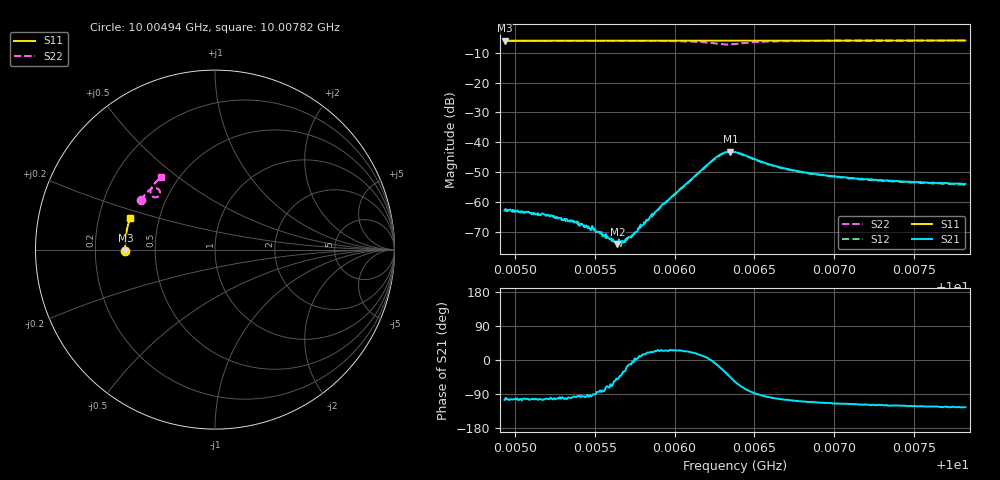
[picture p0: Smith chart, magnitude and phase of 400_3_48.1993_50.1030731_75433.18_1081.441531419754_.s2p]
#  HZ  S  RI  R  50.00
! Rohde & Schwarz Vector Network Analyzer
! Rohde-Schwarz,ZNB20-2Port,1311601062101988,3.16
! Created: UTC 3/20/2024, 11:54:00 AM
! freq[Hz]  re:S11  im:S11  re:S21  im:S21  re:S12  im:S12  re:S22  im:S22
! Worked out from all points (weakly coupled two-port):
!   401 points, 10.00494 GHz to 10.00782 GHz, reference 50 ohm
!   highest |S21| = -43.08 dB at 10.00635 GHz (marker M1); lowest = -74.0 dB at 10.00564 GHz (marker M2)
!   lowest |S11| = -6.0 dB at 10.00494 GHz (marker M3), VSWR 3.00, Z = 16.7 - j0.288 ohm
!   |S11| at or under -10 dB: nowhere
!   |S22| runs from -7.3 to -6.0 dB; largest |S21 - S12| = 0.00042
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1.0004935e10  -0.4994 -0.00647  -0.000192 -0.000703  -0.000121 -0.000703  -0.4117 0.2738
1.0004978e10  -0.4995 -0.00365  -0.000166 -0.000693  -0.000122 -0.000686  -0.4102 0.2761
1.0005209e10  -0.4998 0.0114  -0.000134 -0.000584  -0.000111 -0.000593  -0.4015 0.2898
1.0005375e10  -0.4998 0.0221  -5.51e-05 -0.000454  -3.76e-05 -0.000467  -0.3946 0.2997
1.0005418e10  -0.4998 0.0249  -3.73e-05 -0.000436  -5.01e-05 -0.000416  -0.3927 0.3024
1.0005491e10  -0.4996 0.0296  1.22e-06 -0.000358  4.21e-05 -0.000359  -0.3895 0.3067
1.0005556e10  -0.4994 0.0338  3.4e-05 -0.000279  5.18e-05 -0.000272  -0.3864 0.3108
1.0005628e10  -0.4992 0.0385  0.000125 -0.000179  0.00014 -0.000186  -0.3828 0.315
1.0005642e10  -0.4993 0.0394  0.000127 -0.000155  0.000126 -0.000167  -0.382 0.316
1.0005649e10  -0.4995 0.04  0.00016 -0.000176  0.00016 -0.000131  -0.3817 0.3165
1.0005678e10  -0.4991 0.0419  0.000182 -0.000107  0.000209 -7.45e-05  -0.3802 0.3183
1.0005736e10  -0.499 0.0454  0.00028 -1.57e-05  0.00027 -2.6e-05  -0.3769 0.3218
1.0005902e10  -0.4981 0.0562  0.000711 0.00032  0.00067 0.000367  -0.3653 0.3325
1.0006241e10  -0.4956 0.0781  0.00512 -0.000399  0.005 -0.000171  -0.3116 0.3325
1.0006299e10  -0.4949 0.0815  0.00591 -0.00273  0.0059 -0.00242  -0.307 0.3113
1.0006349e10  -0.4945 0.0846  0.00484 -0.00507  0.00503 -0.00472  -0.3198 0.2942
1.0006378e10  -0.4943 0.0863  0.00372 -0.0058  0.00392 -0.00551  -0.3311 0.2911
1.0006638e10  -0.4922 0.1028  -0.000787 -0.00391  -0.000604 -0.00387  -0.3585 0.3315
1.0006862e10  -0.4896 0.1171  -0.00106 -0.00279  -0.000965 -0.00281  -0.3487 0.3527
1.0007085e10  -0.4865 0.1313  -0.00111 -0.00232  -0.00099 -0.00229  -0.3375 0.3675
1.0007345e10  -0.4822 0.1475  -0.00115 -0.00197  -0.00101 -0.002  -0.3244 0.3817
1.0007821e10  -0.4732 0.1766  -0.00115 -0.00166  -0.00103 -0.00165  -0.3001 0.4039
